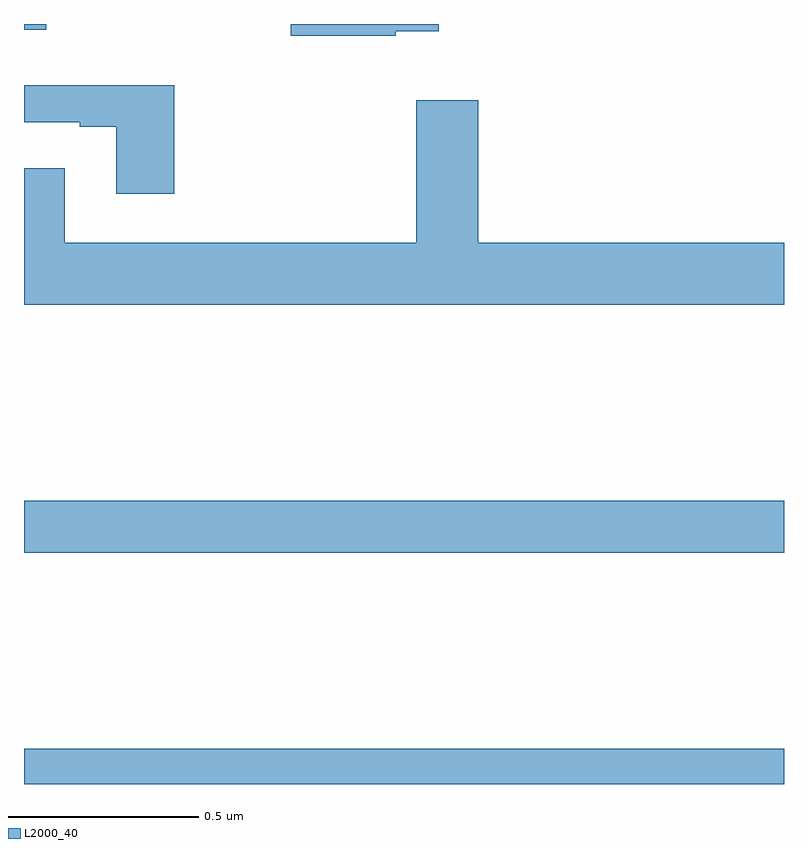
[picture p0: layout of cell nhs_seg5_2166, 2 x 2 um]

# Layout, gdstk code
import gdstk
lib = gdstk.Library(unit=1e-6, precision=1e-09)
def R(c, l, rs):  # rectangles x0, y0, x1, y1
    for r in rs: c.add(gdstk.rectangle(r[:2], r[2:], *l))
def P(c, l, *ps):  # polygons
    for p in ps: c.add(gdstk.Polygon(p, *l))
L2000_40 = (2000, 40)

nhs_seg5_2166 = lib.new_cell('nhs_seg5_2166')
R(nhs_seg5_2166, L2000_40, [(140,888.799,142,888.892), (140,889.408,142,889.544), (140,890.784,140.059,890.799)])
P(nhs_seg5_2166, L2000_40, [(140.978,890.78),(141.091,890.78),(141.091,890.799),(140.702,890.799),(140.702,890.768),(140.978,890.768)],
  [(140.396,890.638),(140,890.638),(140,890.541),(140.147,890.541),(140.147,890.529),(140.243,890.529),(140.243,890.352),(140.396,890.352)],
  [(142,890.224),(141.196,890.224),(141.196,890.599),(141.032,890.599),(141.032,890.224),(140.107,890.224),(140.107,890.419),(140,890.419),(140,890.06),(142,890.06)])

lib.write_gds('nhs_seg5_2166.gds')
